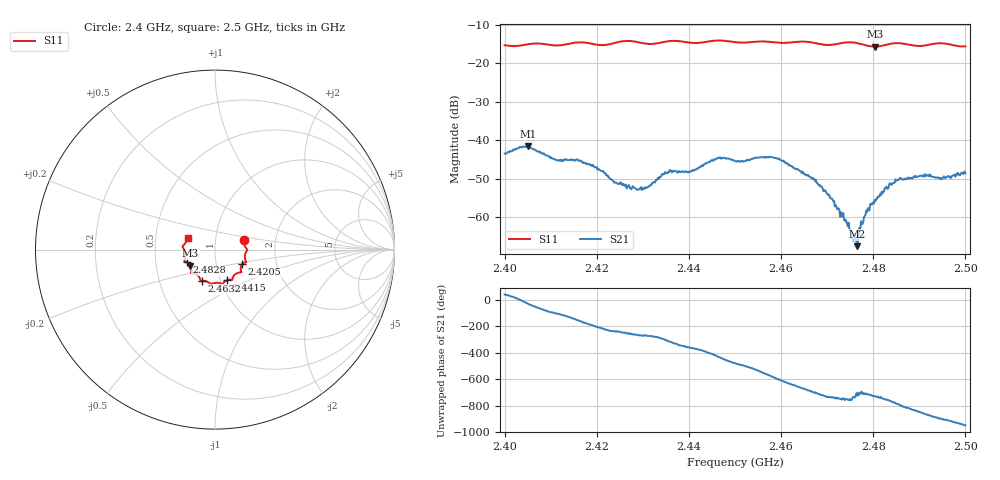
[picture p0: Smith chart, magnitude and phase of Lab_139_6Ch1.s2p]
# Hz S RI R 50
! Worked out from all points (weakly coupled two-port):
!   601 points, 2.4 GHz to 2.5 GHz, reference 50 ohm
!   highest |S21| = -41.49 dB at 2.405 GHz (marker M1); lowest = -67.5 dB at 2.4765 GHz (marker M2)
!   lowest |S11| = -15.7 dB at 2.4803 GHz (marker M3), VSWR 1.39, Z = 37.4 - j6.84 ohm
!   |S11| at or under -10 dB: start of sweep to end of sweep
!   S12 and S22 are empty: the file has one direction only
!   S11 on the Smith chart (normalised r, x): 2.4 GHz: 1.38, +0.15; 2.4205 GHz: 1.34, -0.22; 2.4415 GHz: 1.07, -0.38; 2.4632 GHz: 0.82, -0.29; 2.4828 GHz: 0.72, -0.10; 2.5 GHz: 0.73, +0.10
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2.4e9  0.1631 0.0516  0.00518 0.0043  0 0  0 0
2.405e9  0.1758 0.00435  0.00742 -0.00399  0 0  0 0
2.411167e9  0.1676 -0.0277  -0.00135 -0.00542  0 0  0 0
2.416667e9  0.1731 -0.0697  -0.00514 -0.00148  0 0  0 0
2.4205e9  0.1518 -0.0816  -0.00364 0.00205  0 0  0 0
2.429e9  0.1376 -0.1271  -0.000104 0.00228  0 0  0 0
2.433333e9  0.1006 -0.1519  0.000836 0.00319  0 0  0 0
2.4415e9  0.0655 -0.1706  0.00411 -0.000737  0 0  0 0
2.446333e9  0.0412 -0.193  0.00181 -0.00554  0 0  0 0
2.45e9  0.0243 -0.1861  -0.00261 -0.00473  0 0  0 0
2.458e9  -0.0313 -0.1852  -0.0046 0.00397  0 0  0 0
2.463167e9  -0.0729 -0.174  0.00148 0.00402  0 0  0 0
2.466667e9  -0.0818 -0.1671  0.00289 0.00155  0 0  0 0
2.471e9  -0.1088 -0.1349  0.00166 -0.000596  0 0  0 0
2.475333e9  -0.1338 -0.1299  0.000449 -0.000333  0 0  0 0
2.4765e9  -0.1325 -0.1257  0.000421 -4.72e-05  0 0  0 0
2.4785e9  -0.1306 -0.1091  0.0012 0.000242  0 0  0 0
2.480333e9  -0.1376 -0.089  0.00167 -0.000255  0 0  0 0
2.482833e9  -0.1587 -0.0703  0.00198 -0.00154  0 0  0 0
2.483333e9  -0.1626 -0.0684  0.00187 -0.00161  0 0  0 0
2.485667e9  -0.1707 -0.0625  0.00086 -0.00308  0 0  0 0
2.5e9  -0.1525 0.0645  -0.00239 0.0029  0 0  0 0
